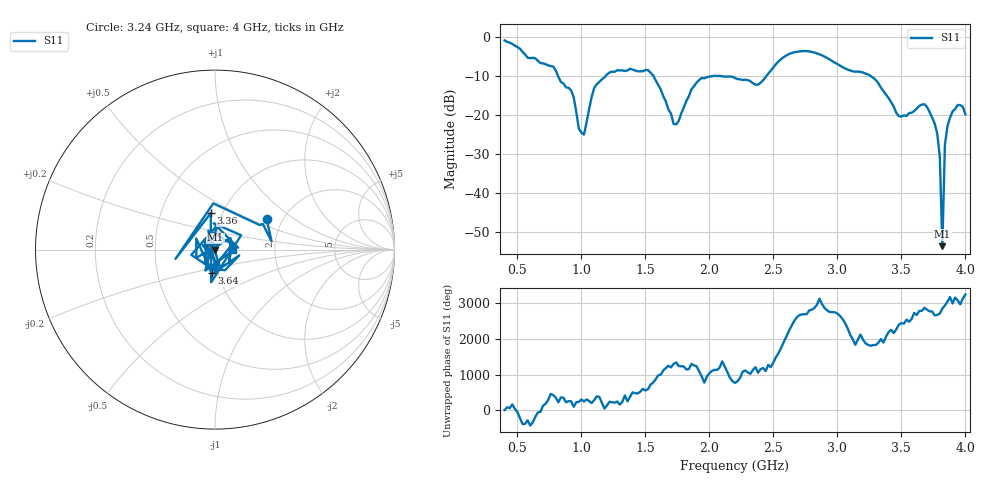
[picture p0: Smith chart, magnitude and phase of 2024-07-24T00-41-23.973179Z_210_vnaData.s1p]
!Created with skrf (http://scikit-rf.org).
# Hz S RI R 50.0
!freq ReS11 ImS11
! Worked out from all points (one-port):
!   181 points, 400 MHz to 4 GHz, reference 50 ohm
!   lowest |S11| = -53.6 dB at 3.82 GHz (marker M1), VSWR 1.00, Z = 50.2 - j0.121 ohm
!   |S11| at or under -10 dB: 818.4 MHz to 1.187 GHz (369 MHz wide, 36.8 % of centre); 1.564 GHz to 2.02 GHz (456.3 MHz wide, 25.5 % of centre); 3.263 GHz to end of sweep (the widest 3 of 4)
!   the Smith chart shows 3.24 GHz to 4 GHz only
!   S11 on the Smith chart (normalised r, x): 3.24 GHz: 1.66, +0.63; 3.36 GHz: 0.88, +0.37; 3.64 GHz: 0.93, -0.25; 4 GHz: 1.23, -0.01
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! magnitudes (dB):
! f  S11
! 400 MHz  -0.8
! 860 MHz  -11.9
! 920 MHz  -13.6
! 980 MHz  -23.5
! 1.02 GHz  -25.0
! 1.1 GHz  -13.0
! 1.3 GHz  -8.5
! 1.52 GHz  -8.4
! 1.72 GHz  -22.2
! 1.76 GHz  -21.5
! 1.92 GHz  -11.0
! 2.2 GHz  -10.4
! 2.38 GHz  -12.2
! 2.66 GHz  -3.9
! 3.1 GHz  -8.5
! 3.24 GHz  -9.5
! 3.36 GHz  -13.8
! 3.48 GHz  -20.2
! 3.56 GHz  -19.4
! 3.64 GHz  -17.6
! 3.7 GHz  -17.9
! 3.78 GHz  -24.7
! 3.8 GHz  -30.6
! 3.82 GHz  -53.6
! 3.84 GHz  -27.5
! 3.86 GHz  -22.8
! 3.94 GHz  -17.4
! 4 GHz  -19.7
